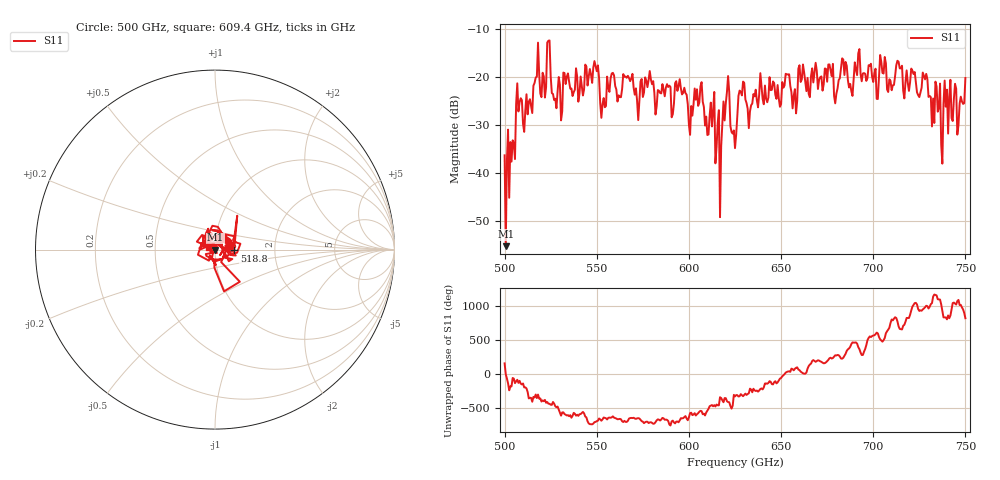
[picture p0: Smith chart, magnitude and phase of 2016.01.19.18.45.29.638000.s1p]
!Created with skrf (http://scikit-rf.org).
# GHz S RI R 50.0
!freq ReS11 ImS11
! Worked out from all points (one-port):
!   401 points, 500 GHz to 750 GHz, reference 50 ohm
!   lowest |S11| = -55.3 dB at 500.6 GHz (marker M1), VSWR 1.00, Z = 50.2 - j0.0191 ohm
!   |S11| at or under -10 dB: start of sweep to end of sweep
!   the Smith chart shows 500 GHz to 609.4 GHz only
!   S11 on the Smith chart (normalised r, x): 500 GHz: 0.97, +0.01; 518.8 GHz: 1.24, -0.01; 609.4 GHz: 0.93, +0.03
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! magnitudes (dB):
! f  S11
! 500 GHz  -36.4
! 500.6 GHz  -55.3
! 507.5 GHz  -27.2
! 518.8 GHz  -19.4
! 523.8 GHz  -12.5
! 526.9 GHz  -24.9
! 531.2 GHz  -27.2
! 549.4 GHz  -17.8
! 553.1 GHz  -25.7
! 558.8 GHz  -19.2
! 562.5 GHz  -24.2
! 593.8 GHz  -23.0
! 609.4 GHz  -28.3
! 612.5 GHz  -30.4
! 615.6 GHz  -29.6
! 620.6 GHz  -23.2
! 625 GHz  -34.9
! 628.8 GHz  -23.9
! 656.2 GHz  -26.6
! 676.9 GHz  -18.7
! 680 GHz  -23.5
! 684.4 GHz  -19.7
! 687.5 GHz  -21.5
! 691.2 GHz  -19.7
! 718.8 GHz  -21.3
! 728.1 GHz  -20.6
! 736.2 GHz  -21.4
! 750 GHz  -20.3
